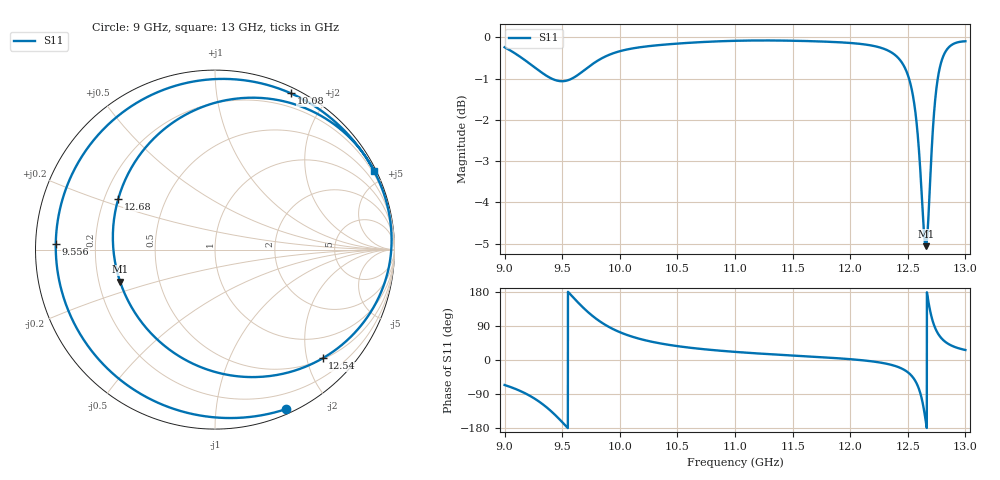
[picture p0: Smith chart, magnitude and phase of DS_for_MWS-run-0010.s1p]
! TOUCHSTONE file generated by CST DESIGN STUDIO
! Date and time: Tue Feb  4 15:51:18 2025
! Project name: C:\Work\MatlabApps\UnitCellOptimizationMatlab\CST\unitcell.cst
! Tree item: Tasks\Sweep1\SPara1\S-Parameters
! Header version: 2024
! Port assignment regex: !\s*Touchstone port\s*([0-9]+)\s*=\s*(CST MWS port|CST DES external port|CST DES block port)\s*(.+)\s* \(\"(.*)\"\)(\s*mode\s*([0-9]+))?.*
! Touchstone port assignment:
! Touchstone port 1 = CST DES external port 1 ("")
# GHz S MA R 50
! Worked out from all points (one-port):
!   4001 points, 9 GHz to 13 GHz, reference 50 ohm
!   lowest |S11| = -5.1 dB at 12.66 GHz (marker M1), VSWR 3.53, Z = 14.5 - j7.56 ohm
!   |S11| at or under -10 dB: nowhere
!   S11 on the Smith chart (normalised r, x): 9 GHz: 0.05, -1.54; 9.556 GHz: 0.06, +0.02; 10.08 GHz: 0.06, +1.60; 12.54 GHz: 0.52, -2.30; 12.68 GHz: 0.26, +0.23; 13 GHz: 0.11, +4.27
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9  0.9728 -66.0
9.174  0.9388 -87.2
9.295  0.9121 -108.9
9.398  0.8927 -133.6
9.5  0.8847 -163.8
9.556  0.8877 178.0
9.644  0.902 149.6
9.76  0.9275 117.1
9.864  0.9464 94.6
10  0.9621 73.4
10.082  0.9679 64.1
10.5  0.9827 36.6
11  0.9904 21.4
11.5  0.9906 11.8
12  0.9844 2.2
12.314  0.9659 -9.7
12.5  0.9006 -32.3
12.543  0.8523 -45.3
12.577  0.7861 -61.9
12.61  0.6848 -89.0
12.633  0.6021 -119.3
12.656  0.5583 -161.3
12.68  0.609 152.2
12.712  0.7504 107.1
12.748  0.8663 77.6
12.789  0.932 58.5
12.839  0.9664 45.0
13  0.9891 26.4
